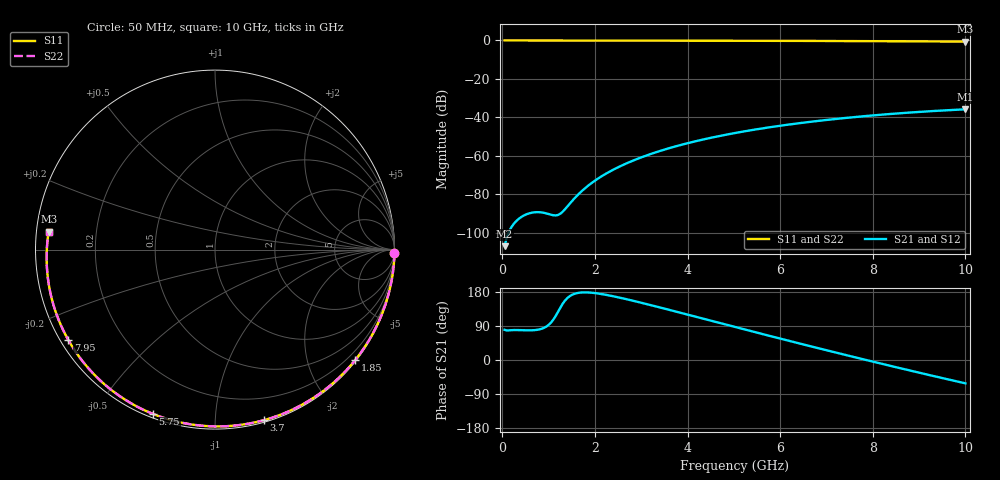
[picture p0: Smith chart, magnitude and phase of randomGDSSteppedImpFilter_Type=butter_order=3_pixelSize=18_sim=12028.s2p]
! freq	dB(S11)	phase(S11)	dB(S12)	phase(S12)
!  dB(S21)	phase(S21)	dB(S22)	phase(S22)
!S-par simulation data
#  GHz  S  DB  R 50
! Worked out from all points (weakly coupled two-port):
!   200 points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, 50 MHz to 10 GHz, reference 50 ohm
!   highest |S21| = -35.80 dB at 10 GHz (marker M1); lowest = -106.9 dB at 50 MHz (marker M2)
!   lowest |S11| = -0.6 dB at 10 GHz (marker M3), VSWR 28.45, Z = 1.76 + j2.68 ohm
!   |S11| at or under -10 dB: nowhere
!   |S22| runs from -0.6 to 0.0 dB; largest |S21 - S12| = 0
!   S11 on the Smith chart (normalised r, x): 50 MHz: open; 1.85 GHz: 0.03, -2.89; 3.7 GHz: 0.02, -1.33; 5.75 GHz: 0.02, -0.69; 7.95 GHz: 0.02, -0.28; 10 GHz: 0.04, +0.05
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0.05  -0.00 -1.1  -106.92 79.7  -106.92 79.7  -0.00 -1.1
0.4  -0.01 -8.4  -91.93 78.7  -91.93 78.7  -0.01 -8.4
0.8  -0.02 -16.7  -89.27 80.8  -89.27 80.8  -0.02 -16.7
1.2  -0.03 -25.0  -90.72 126.4  -90.72 126.4  -0.03 -25.0
1.6  -0.04 -33.1  -81.01 176.1  -81.01 176.1  -0.04 -33.1
1.65  -0.04 -34.1  -79.80 177.3  -79.80 177.3  -0.04 -34.1
1.75  -0.05 -36.2  -77.57 178.4  -77.57 178.4  -0.05 -36.2
1.85  -0.05 -38.2  -75.55 178.2  -75.55 178.2  -0.05 -38.2
2.15  -0.06 -44.2  -70.52 173.9  -70.52 173.9  -0.06 -44.2
2.5  -0.07 -51.1  -65.91 165.5  -65.91 165.5  -0.07 -51.1
2.9  -0.08 -58.9  -61.71 154.1  -61.71 154.1  -0.08 -58.9
3.4  -0.09 -68.4  -57.47 138.8  -57.47 138.8  -0.09 -68.4
3.7  -0.10 -74.0  -55.33 129.4  -55.33 129.4  -0.10 -74.0
4.35  -0.12 -86.0  -51.40 108.7  -51.40 108.7  -0.12 -86.0
5.05  -0.15 -98.5  -48.00 86.4  -48.00 86.4  -0.15 -98.5
5.75  -0.19 -110.7  -45.21 64.3  -45.21 64.3  -0.19 -110.7
6.7  -0.25 -127.0  -42.15 34.9  -42.15 34.9  -0.25 -127.0
7.35  -0.30 -138.1  -40.43 15.1  -40.43 15.1  -0.30 -138.1
7.95  -0.36 -148.4  -39.07 -2.8  -39.07 -2.8  -0.36 -148.5
8.35  -0.40 -155.4  -38.27 -14.6  -38.27 -14.6  -0.40 -155.5
9.2  -0.50 -170.8  -36.84 -39.2  -36.84 -39.2  -0.50 -170.8
10  -0.61 173.9  -35.80 -61.6  -35.80 -61.6  -0.61 173.8
